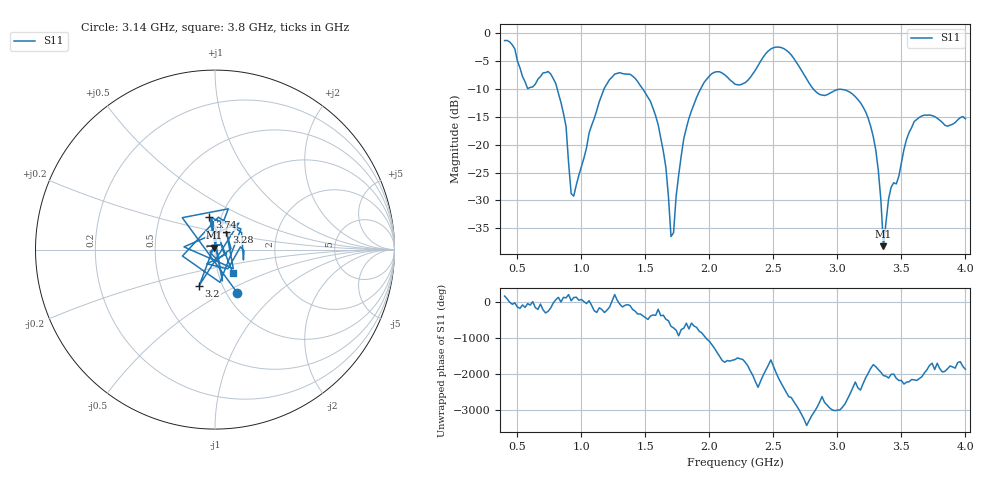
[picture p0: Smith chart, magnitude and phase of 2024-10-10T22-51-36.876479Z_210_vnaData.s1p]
! Created with skrf (http://scikit-rf.org).
# Hz S RI R 50.0
!freq ReS11 ImS11
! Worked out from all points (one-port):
!   181 points, 400 MHz to 4 GHz, reference 50 ohm
!   lowest |S11| = -38.2 dB at 3.36 GHz (marker M1), VSWR 1.02, Z = 49.5 + j1.11 ohm
!   |S11| at or under -10 dB: 811.5 MHz to 1.177 GHz (365.2 MHz wide, 36.7 % of centre); 1.48 GHz to 1.931 GHz (450.5 MHz wide, 26.4 % of centre); 2.813 GHz to end of sweep
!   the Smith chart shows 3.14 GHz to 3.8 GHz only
!   S11 on the Smith chart (normalised r, x): 3.14 GHz: 1.12, -0.58; 3.2 GHz: 0.78, -0.33; 3.28 GHz: 1.11, +0.23; 3.74 GHz: 0.88, +0.33; 3.8 GHz: 1.18, -0.32
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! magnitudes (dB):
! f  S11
! 400 MHz  -1.3
! 580 MHz  -9.9
! 760 MHz  -7.3
! 860 MHz  -14.4
! 940 MHz  -29.2
! 1.16 GHz  -11.0
! 1.3 GHz  -7.0
! 1.58 GHz  -14.8
! 1.66 GHz  -24.1
! 1.7 GHz  -36.5
! 1.76 GHz  -25.4
! 1.84 GHz  -15.3
! 1.96 GHz  -8.8
! 2.2 GHz  -9.1
! 2.5 GHz  -2.6
! 2.66 GHz  -4.5
! 2.86 GHz  -10.9
! 3.1 GHz  -10.6
! 3.14 GHz  -11.4
! 3.2 GHz  -13.2
! 3.28 GHz  -18.5
! 3.32 GHz  -24.7
! 3.36 GHz  -38.2
! 3.42 GHz  -27.6
! 3.56 GHz  -17.8
! 3.74 GHz  -14.8
! 3.8 GHz  -15.6
! 4 GHz  -15.3
